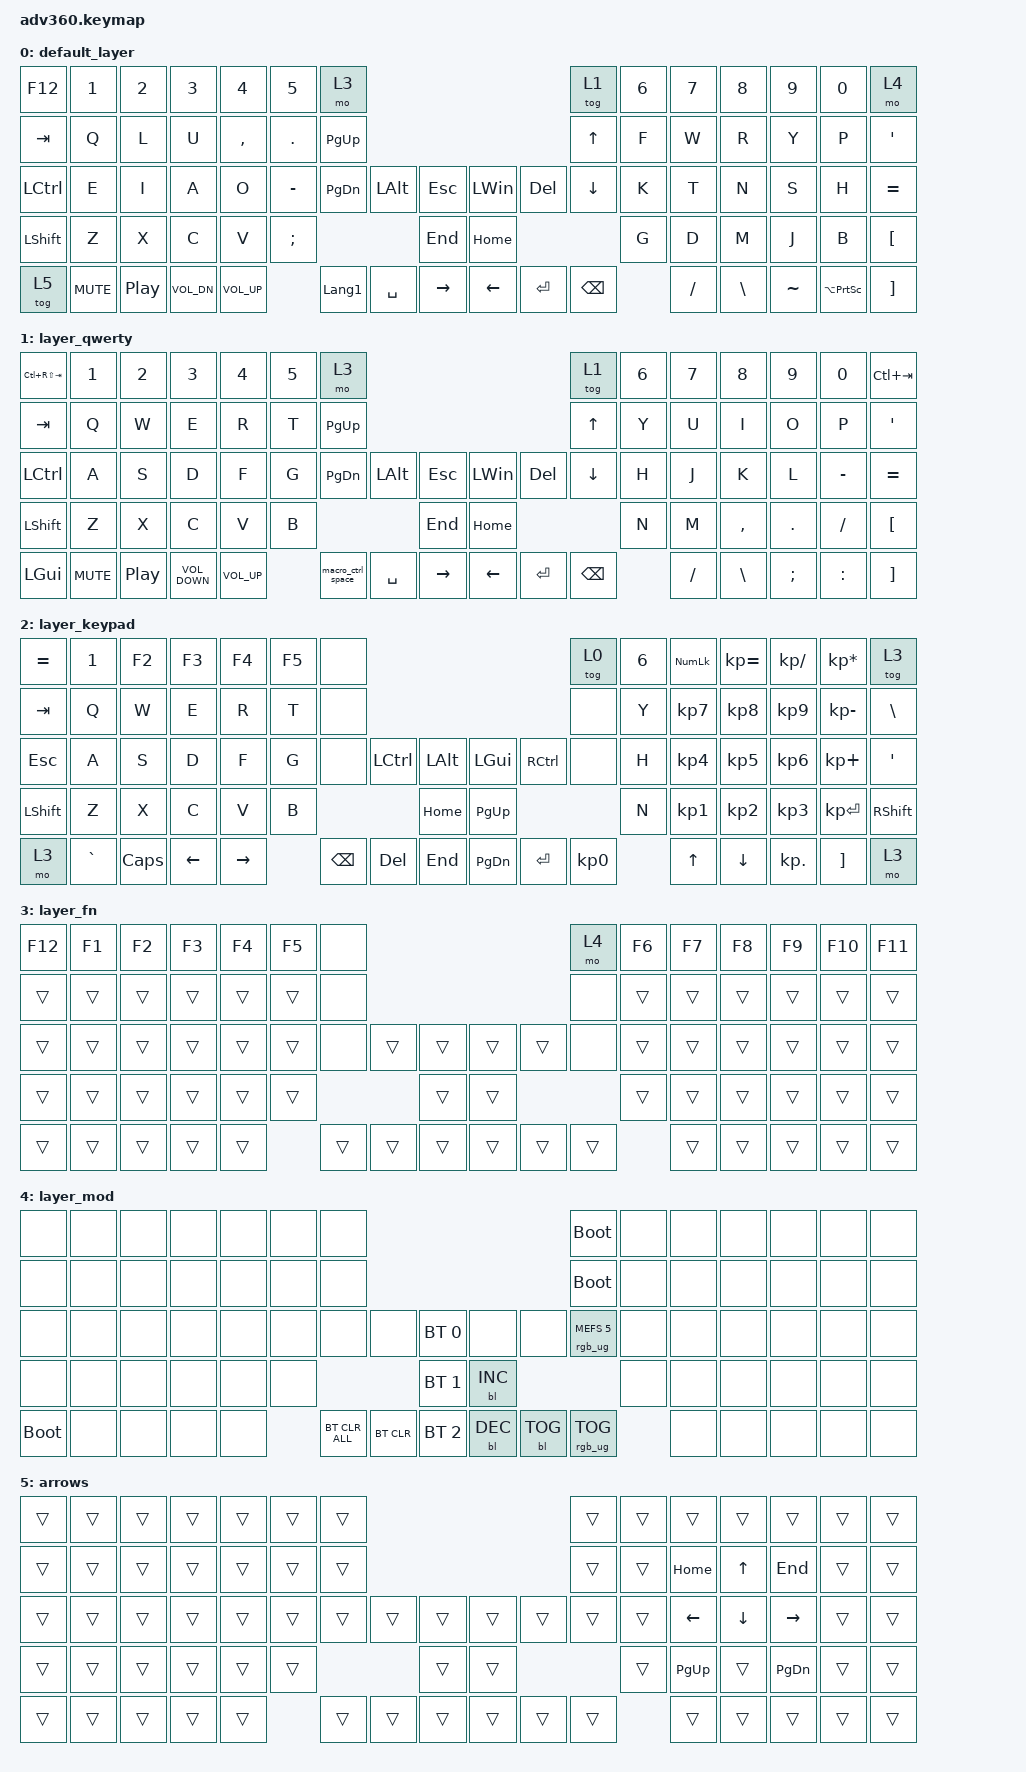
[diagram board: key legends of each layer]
/*
 * Copyright (c) 2020 The ZMK Contributors
 *
 * SPDX-License-Identifier: MIT
 */
/* THIS FILE WAS GENERATED!
 *
 * This file was generated automatically. You may or may not want to
 * edit it directly.
 */

#include <behaviors.dtsi>
#include <dt-bindings/zmk/backlight.h>
#include <dt-bindings/zmk/bt.h>
#include <dt-bindings/zmk/keys.h>
#include <dt-bindings/zmk/rgb.h>

/ {
    behaviors {
        #include "macros.dtsi"
    #include "version.dtsi"

        hm: homerow_mods {
            compatible = "zmk,behavior-hold-tap";
            label = "HOMEROW_MODS";
            #binding-cells = <2>;
            tapping-term-ms = <200>;
            quick_tap_ms = <175>;
            flavor = "tap-preferred";
            bindings = <&kp>, <&kp>;
        };
    };

    macros {
        macro_shift_space: macro_shift_space {
            compatible = "zmk,behavior-macro";
            label = "macro_shift_space";
            #binding-cells = <0>;
            bindings = <&kp LS(SPACE)>;
        };

        macro_copy_column: macro_copy_column {
            compatible = "zmk,behavior-macro";
            label = "macro_copy_column";
            #binding-cells = <0>;
            bindings = <&kp HOME &kp LS(END) &kp LC(C) &kp RIGHT>;
        };

        macro_ctrl_shift_tab: macro_ctrl_shift_tab {
            compatible = "zmk,behavior-macro";
            label = "macro_ctrl_shift_tab";
            #binding-cells = <0>;
            bindings = <&kp LS(LC(TAB))>;
        };

        macro_ctrl_tab: macro_ctrl_tab {
            compatible = "zmk,behavior-macro";
            label = "macro_ctrl_tab";
            #binding-cells = <0>;
            bindings = <&kp LC(TAB)>;
        };

        macro_ctrl_space: macro_ctrl_space {
            compatible = "zmk,behavior-macro";
            label = "macro_ctrl_space";
            #binding-cells = <0>;
            bindings = <&kp LC(SPACE)>;
        };

        macro_quotes: macro_quotes {
            compatible = "zmk,behavior-macro";
            label = "macro_quotes";
            #binding-cells = <0>;
            bindings = <&kp SQT &kp SQT &kp LEFT>;
        };

        macro_dquotes: macro_dquotes {
            compatible = "zmk,behavior-macro";
            label = "macro_dquotes";
            #binding-cells = <0>;
            bindings = <&kp DQT &kp DQT &kp LEFT>;
        };

        macro_braces: macro_braces {
            compatible = "zmk,behavior-macro";
            label = "macro_braces";
            #binding-cells = <0>;
            bindings = <&kp LBRC &kp RBRC &kp LEFT>;
        };

        macro_parens: macro_parens {
            compatible = "zmk,behavior-macro";
            label = "macro_parens";
            #binding-cells = <0>;
            bindings = <&kp LPAR &kp RPAR &kp LEFT>;
        };

        macro_brackets: macro_brackets {
            compatible = "zmk,behavior-macro";
            label = "macro_brackets";
            #binding-cells = <0>;
            bindings = <&kp LBKT &kp RBKT &kp LEFT>;
        };

        macro_kinesis: macro_kinesis {
            compatible = "zmk,behavior-macro";
            label = "macro_kinesis";
            #binding-cells = <0>;
            bindings = <&kp LS(K) &kp I &kp N &kp E &kp S &kp I &kp S>;
        };

        macro_ScreenShot: win_shiht_tab {
            compatible = "zmk,behavior-macro";
            #binding-cells = <0>;
            bindings = <&kp LEFT_WIN &kp LEFT_SHIFT &kp S>;
            label = "WIN_SHIHT_TAB";
        };

        macro_ctrl_w: new_ctrl_w {
            compatible = "zmk,behavior-macro";
            #binding-cells = <0>;
            bindings = <&kp LCTRL &kp W>;
            label = "NEW_CTRL_W";
        };

        macro_ctrl_t: macro_ctrl_t {
            compatible = "zmk,behavior-macro";
            #binding-cells = <0>;
            bindings = <&kp LCTRL &kp T>;
            label = "MACRO_CTRL_T";
        };

        macro_ctrl_shift_t: macro_ctrl_shift_t {
            compatible = "zmk,behavior-macro";
            #binding-cells = <0>;
            bindings = <&kp LCTRL &kp LEFT_SHIFT &kp T>;
            label = "MACRO_CTRL_SHIFT_T";
        };
    };

    keymap {
        compatible = "zmk,keymap";

        default_layer {
            bindings = <
&kp F12    &kp N1      &kp N2            &kp N3        &kp N4        &kp N5         &mo 3                                                                 &tog 1         &kp N6  &kp N7     &kp N8         &kp N9     &kp N0               &mo 4
&kp TAB    &kp Q       &kp L             &kp U         &kp COMMA     &kp PERIOD     &kp PAGE_UP                                                           &kp UP         &kp F   &kp W      &kp R          &kp Y      &kp P                &kp SINGLE_QUOTE
&kp LCTRL  &kp E       &kp I             &kp A         &kp O         &kp MINUS      &kp PAGE_DOWN   &kp LEFT_ALT  &kp ESC        &kp LEFT_WIN  &kp DEL    &kp DOWN       &kp K   &kp T      &kp N          &kp S      &kp H                &kp EQUAL
&kp LSHFT  &kp Z       &kp X             &kp C         &kp V         &kp SEMICOLON                                &kp END        &kp HOME                                &kp G   &kp D      &kp M          &kp J      &kp B                &kp LEFT_BRACKET
&tog 5     &kp C_MUTE  &kp C_PLAY_PAUSE  &kp C_VOL_DN  &kp C_VOL_UP                 &kp LANGUAGE_1  &kp SPACE     &kp RIGHT      &kp LEFT      &kp ENTER  &kp BACKSPACE          &kp SLASH  &kp BACKSLASH  &kp TILDE  &kp LA(PRINTSCREEN)  &kp RIGHT_BRACKET
            >;
        };

        layer_qwerty {
            bindings = <
&kp LC(RS(TAB))  &kp N1      &kp N2            &kp N3             &kp N4           &kp N5  &mo 3                                                                     &tog 1         &kp N6  &kp N7     &kp N8         &kp N9         &kp N0     &kp LC(TAB)
&kp TAB          &kp Q       &kp W             &kp E              &kp R            &kp T   &kp PAGE_UP                                                               &kp UP         &kp Y   &kp U      &kp I          &kp O          &kp P      &kp SINGLE_QUOTE
&kp LCTRL        &kp A       &kp S             &kp D              &kp F            &kp G   &kp PAGE_DOWN      &kp LEFT_ALT  &kp ESC        &kp LEFT_WIN  &kp DELETE  &kp DOWN       &kp H   &kp J      &kp K          &kp L          &kp MINUS  &kp EQUAL
&kp LSHFT        &kp Z       &kp X             &kp C              &kp V            &kp B                                    &kp END        &kp HOME                                 &kp N   &kp M      &kp COMMA      &kp PERIOD     &kp SLASH  &kp LEFT_BRACKET
&kp LGUI         &kp C_MUTE  &kp C_PLAY_PAUSE  &kp C_VOLUME_DOWN  &kp C_VOLUME_UP          &macro_ctrl_space  &kp SPACE     &kp RIGHT      &kp LEFT      &kp ENTER   &kp BACKSPACE          &kp SLASH  &kp BACKSLASH  &kp SEMICOLON  &kp COLON  &kp RIGHT_BRACKET
            >;
        };

        layer_keypad {
            bindings = <
&kp EQUAL  &kp N1     &kp F2    &kp F3    &kp F4     &kp F5  &none                                                    &tog 0     &kp N6  &kp KP_NUM  &kp KP_EQUAL  &kp KP_DIVIDE  &kp KP_MULTIPLY  &tog 3
&kp TAB    &kp Q      &kp W     &kp E     &kp R      &kp T   &none                                                    &none      &kp Y   &kp KP_N7   &kp KP_N8     &kp KP_N9      &kp KP_MINUS     &kp BSLH
&kp ESC    &kp A      &kp S     &kp D     &kp F      &kp G   &none     &kp LCTRL  &kp LALT      &kp LGUI   &kp RCTRL  &none      &kp H   &kp KP_N4   &kp KP_N5     &kp KP_N6      &kp KP_PLUS      &kp SQT
&kp LSHFT  &kp Z      &kp X     &kp C     &kp V      &kp B                        &kp HOME      &kp PG_UP                        &kp N   &kp KP_N1   &kp KP_N2     &kp KP_N3      &kp KP_ENTER     &kp RSHFT
&mo 3      &kp GRAVE  &kp CAPS  &kp LEFT  &kp RIGHT          &kp BSPC  &kp DEL    &kp END       &kp PG_DN  &kp ENTER  &kp KP_N0          &kp UP      &kp DOWN      &kp KP_DOT     &kp RBKT         &mo 3
            >;
        };

        layer_fn {
            bindings = <
&kp F12  &kp F1  &kp F2  &kp F3  &kp F4  &kp F5  &none                                       &mo 4   &kp F6  &kp F7  &kp F8  &kp F9  &kp F10  &kp F11
&trans   &trans  &trans  &trans  &trans  &trans  &none                                       &none   &trans  &trans  &trans  &trans  &trans   &trans
&trans   &trans  &trans  &trans  &trans  &trans  &none   &trans  &trans      &trans  &trans  &none   &trans  &trans  &trans  &trans  &trans   &trans
&trans   &trans  &trans  &trans  &trans  &trans                  &trans      &trans                  &trans  &trans  &trans  &trans  &trans   &trans
&trans   &trans  &trans  &trans  &trans          &trans  &trans  &trans      &trans  &trans  &trans          &trans  &trans  &trans  &trans   &trans
            >;
        };

        layer_mod {
            bindings = <
&none        &none  &none  &none  &none  &none  &none                                                                 &bootloader             &none  &none  &none  &none  &none  &none
&none        &none  &none  &none  &none  &none  &none                                                                 &bootloader             &none  &none  &none  &none  &none  &none
&none        &none  &none  &none  &none  &none  &none           &none       &bt BT_SEL 0      &none       &none       &rgb_ug RGB_MEFS_CMD 5  &none  &none  &none  &none  &none  &none
&none        &none  &none  &none  &none  &none                              &bt BT_SEL 1      &bl BL_INC                                      &none  &none  &none  &none  &none  &none
&bootloader  &none  &none  &none  &none         &bt BT_CLR_ALL  &bt BT_CLR  &bt BT_SEL 2      &bl BL_DEC  &bl BL_TOG  &rgb_ug RGB_TOG                &none  &none  &none  &none  &none
            >;
        };

        arrows {
            bindings = <
&trans  &trans  &trans  &trans  &trans  &trans  &trans                                      &trans  &trans  &trans       &trans    &trans     &trans  &trans
&trans  &trans  &trans  &trans  &trans  &trans  &trans                                      &trans  &trans  &kp HOME     &kp UP    &kp END    &trans  &trans
&trans  &trans  &trans  &trans  &trans  &trans  &trans  &trans  &trans      &trans  &trans  &trans  &trans  &kp LEFT     &kp DOWN  &kp RIGHT  &trans  &trans
&trans  &trans  &trans  &trans  &trans  &trans                  &trans      &trans                  &trans  &kp PAGE_UP  &trans    &kp PG_DN  &trans  &trans
&trans  &trans  &trans  &trans  &trans          &trans  &trans  &trans      &trans  &trans  &trans          &trans       &trans    &trans     &trans  &trans
            >;
        };
    };
};
